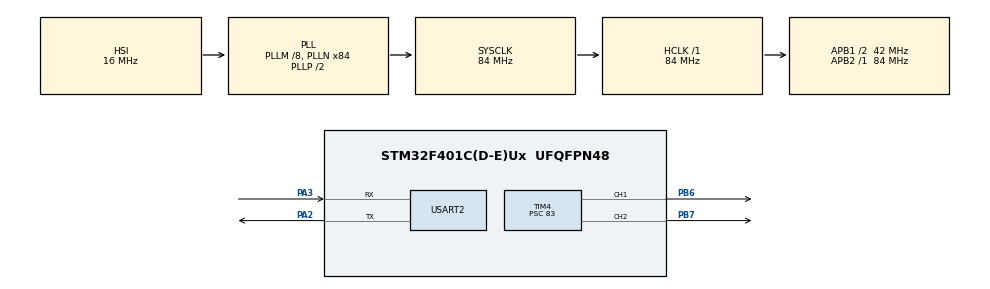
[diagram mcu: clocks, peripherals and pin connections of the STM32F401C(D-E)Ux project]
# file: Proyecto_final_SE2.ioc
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Mcu.Family=STM32F4
Mcu.Name=STM32F401C(D-E)Ux
Mcu.Package=UFQFPN48
NVIC.PriorityGroup=NVIC_PRIORITYGROUP_4
NVIC.USART2_IRQn=true\:0\:0\:false\:false\:true\:true\:true\:true
PA2.Mode=Asynchronous
PA2.Signal=USART2_TX
PA3.Mode=Asynchronous
PA3.Signal=USART2_RX
PB6.Signal=S_TIM4_CH1
PB7.Signal=S_TIM4_CH2
ProjectManager.HeapSize=0x200
ProjectManager.StackSize=0x400
ProjectManager.TargetToolchain=MDK-ARM V5.32
RCC.48MHZClocksFreq_Value=42000000
RCC.AHBFreq_Value=84000000
RCC.APB1CLKDivider=RCC_HCLK_DIV2
RCC.APB1Freq_Value=42000000
RCC.APB1TimFreq_Value=84000000
RCC.APB2Freq_Value=84000000
RCC.APB2TimFreq_Value=84000000
RCC.CortexFreq_Value=84000000
RCC.HCLKFreq_Value=84000000
RCC.HSE_VALUE=25000000
RCC.HSI_VALUE=16000000
RCC.LSE_VALUE=32768
RCC.PLLM=8
RCC.PLLN=84
RCC.SYSCLKFreq_VALUE=84000000
RCC.SYSCLKSource=RCC_SYSCLKSOURCE_PLLCLK
RCC.VCOOutputFreq_Value=168000000
SH.S_TIM4_CH1.0=TIM4_CH1,PWM Generation1 CH1
SH.S_TIM4_CH2.0=TIM4_CH2,PWM Generation2 CH2
TIM4.Channel-PWM\ Generation1\ CH1=TIM_CHANNEL_1
TIM4.Channel-PWM\ Generation2\ CH2=TIM_CHANNEL_2
TIM4.Period=19999
TIM4.Prescaler=83
TIM4.Pulse-PWM\ Generation1\ CH1=1500
USART2.VirtualMode=VM_ASYNC
board=custom

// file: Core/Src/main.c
/* USER CODE BEGIN Header */
/**
  ******************************************************************************
  * @file           : main.c
  * @brief          : Main program body
  ******************************************************************************
  ******************************************************************************
  */
/* USER CODE END Header */

#include "main.h"
#include <string.h>
#include <stdio.h>
#include <stdlib.h>

TIM_HandleTypeDef htim4;
UART_HandleTypeDef huart2;

void SystemClock_Config(void);
static void MX_GPIO_Init(void);
static void MX_TIM4_Init(void);
static void MX_USART2_UART_Init(void);

/* USER CODE BEGIN PV */

// ===== Servo config =====
#define SERVO_MIN_US     1000
#define SERVO_MAX_US     2000
#define SERVO_CENTER_US  1500
#define SERVO_STEP_MAX   400     // clamp por comando
#define SERVO_CH         TIM_CHANNEL_1

static volatile uint16_t g_servo_us = SERVO_CENTER_US;

// ===== UART line parser (IT RX) =====
static volatile uint8_t rx_byte;
static volatile char    line_buf[64];
static volatile uint8_t line_idx   = 0;
static volatile uint8_t line_ready = 0;

// Handshake state
typedef enum { ST_WAIT_HELLO=0, ST_READY } state_t;
static volatile state_t g_state = ST_WAIT_HELLO;

static char txbuf[64];

/* USER CODE END PV */

/* USER CODE BEGIN 0 */

static inline uint16_t clamp_u16(uint16_t x, uint16_t lo, uint16_t hi)
{
  if (x < lo) return lo;
  if (x > hi) return hi;
  return x;
}

static inline int32_t clamp_i32(int32_t x, int32_t lo, int32_t hi)
{
  if (x < lo) return lo;
  if (x > hi) return hi;
  return x;
}

static void uart_send(const char *s)
{
  HAL_UART_Transmit(&huart2, (uint8_t*)s, (uint16_t)strlen(s), 50);
}

static void servo_write_us(uint16_t us)
{
  us = clamp_u16(us, SERVO_MIN_US, SERVO_MAX_US);
  g_servo_us = us;
  __HAL_TIM_SET_COMPARE(&htim4, SERVO_CH, us);
}

static void servo_step(int32_t delta_us)
{
  delta_us = clamp_i32(delta_us, -SERVO_STEP_MAX, SERVO_STEP_MAX);
  int32_t next = (int32_t)g_servo_us + delta_us;
  if (next < SERVO_MIN_US) next = SERVO_MIN_US;
  if (next > SERVO_MAX_US) next = SERVO_MAX_US;
  servo_write_us((uint16_t)next);
}

// Procesa una línea ya terminada (sin \r\n)
static void process_line(const char *line)
{
  // ---- Handshake ----
  if (g_state == ST_WAIT_HELLO)
  {
    if (strcmp(line, "HELLO") == 0) {
      g_state = ST_READY;
      uart_send("HELLO_OK\n");
    } else {
      uart_send("ERR EXPECT_HELLO\n");
    }
    return;
  }

  // ---- Commands (ready) ----
  // Centro rápido
  if (strcmp(line, "C") == 0) {
    servo_write_us(SERVO_CENTER_US);
    uart_send("OK\n");
    return;
  }

  // d <N>  -> derecha (suma us)
  // i <N>  -> izquierda (resta us)
  // Ej: "d 20" o "i 50"
  if ((line[0] == 'd' || line[0] == 'i') && line[1] == ' ')
  {
    int n = atoi(&line[2]);   // tolera "d 20", "d 200"
    if (n < 0) n = -n;        // por si mandan negativo

    if (line[0] == 'd') servo_step(+n);
    else                servo_step(-n);

    uart_send("OK\n");
    return;
  }

  // P <us>  -> set pulso directo (debug útil)
  if (line[0] == 'P' && line[1] == ' ')
  {
    int us = atoi(&line[2]);
    if (us < SERVO_MIN_US || us > SERVO_MAX_US) {
      uart_send("ERR RANGE\n");
      return;
    }
    servo_write_us((uint16_t)us);
    uart_send("OK\n");
    return;
  }

  uart_send("ERR UNKNOWN\n");
}

/* USER CODE END 0 */

int main(void)
{
  HAL_Init();
  SystemClock_Config();

  MX_GPIO_Init();
  MX_TIM4_Init();
  MX_USART2_UART_Init();

  // ===== Start PWM =====
  HAL_TIM_PWM_Start(&htim4, SERVO_CH);
  servo_write_us(SERVO_CENTER_US);

  // ===== Start UART RX IT =====
  HAL_UART_Receive_IT(&huart2, (uint8_t*)&rx_byte, 1);

  uart_send("READY\n");

  while (1)
  {
    if (line_ready)
    {
      line_ready = 0;
      char local[64];
      strncpy(local, (const char*)line_buf, sizeof(local));
      local[sizeof(local)-1] = '\0';
      process_line(local);
    }
  }
}

void SystemClock_Config(void)
{
  RCC_OscInitTypeDef RCC_OscInitStruct = {0};
  RCC_ClkInitTypeDef RCC_ClkInitStruct = {0};

  __HAL_RCC_PWR_CLK_ENABLE();
  __HAL_PWR_VOLTAGESCALING_CONFIG(PWR_REGULATOR_VOLTAGE_SCALE2);

  RCC_OscInitStruct.OscillatorType = RCC_OSCILLATORTYPE_HSI;
  RCC_OscInitStruct.HSIState = RCC_HSI_ON;
  RCC_OscInitStruct.HSICalibrationValue = RCC_HSICALIBRATION_DEFAULT;
  RCC_OscInitStruct.PLL.PLLState = RCC_PLL_ON;
  RCC_OscInitStruct.PLL.PLLSource = RCC_PLLSOURCE_HSI;
  RCC_OscInitStruct.PLL.PLLM = 8;
  RCC_OscInitStruct.PLL.PLLN = 84;
  RCC_OscInitStruct.PLL.PLLP = RCC_PLLP_DIV2;
  RCC_OscInitStruct.PLL.PLLQ = 4;
  if (HAL_RCC_OscConfig(&RCC_OscInitStruct) != HAL_OK) Error_Handler();

  RCC_ClkInitStruct.ClockType = RCC_CLOCKTYPE_HCLK|RCC_CLOCKTYPE_SYSCLK
                              |RCC_CLOCKTYPE_PCLK1|RCC_CLOCKTYPE_PCLK2;
  RCC_ClkInitStruct.SYSCLKSource = RCC_SYSCLKSOURCE_PLLCLK;
  RCC_ClkInitStruct.AHBCLKDivider = RCC_SYSCLK_DIV1;
  RCC_ClkInitStruct.APB1CLKDivider = RCC_HCLK_DIV2;
  RCC_ClkInitStruct.APB2CLKDivider = RCC_HCLK_DIV1;

  if (HAL_RCC_ClockConfig(&RCC_ClkInitStruct, FLASH_LATENCY_2) != HAL_OK) Error_Handler();
}

static void MX_TIM4_Init(void)
{
  TIM_MasterConfigTypeDef sMasterConfig = {0};
  TIM_OC_InitTypeDef sConfigOC = {0};

  htim4.Instance = TIM4;
  htim4.Init.Prescaler = 83;            // 84MHz/84 = 1MHz -> 1 tick = 1us
  htim4.Init.CounterMode = TIM_COUNTERMODE_UP;
  htim4.Init.Period = 19999;            // 20ms
  htim4.Init.ClockDivision = TIM_CLOCKDIVISION_DIV1;
  htim4.Init.AutoReloadPreload = TIM_AUTORELOAD_PRELOAD_DISABLE;
  if (HAL_TIM_PWM_Init(&htim4) != HAL_OK) Error_Handler();

  sMasterConfig.MasterOutputTrigger = TIM_TRGO_RESET;
  sMasterConfig.MasterSlaveMode = TIM_MASTERSLAVEMODE_DISABLE;
  if (HAL_TIMEx_MasterConfigSynchronization(&htim4, &sMasterConfig) != HAL_OK) Error_Handler();

  sConfigOC.OCMode = TIM_OCMODE_PWM1;
  sConfigOC.Pulse = SERVO_CENTER_US;    // arranca centrado
  sConfigOC.OCPolarity = TIM_OCPOLARITY_HIGH;
  sConfigOC.OCFastMode = TIM_OCFAST_DISABLE;

  if (HAL_TIM_PWM_ConfigChannel(&htim4, &sConfigOC, TIM_CHANNEL_1) != HAL_OK) Error_Handler();

  HAL_TIM_MspPostInit(&htim4);
}

static void MX_USART2_UART_Init(void)
{
  huart2.Instance = USART2;
  huart2.Init.BaudRate = 115200;
  huart2.Init.WordLength = UART_WORDLENGTH_8B;
  huart2.Init.StopBits = UART_STOPBITS_1;
  huart2.Init.Parity = UART_PARITY_NONE;
  huart2.Init.Mode = UART_MODE_TX_RX;
  huart2.Init.HwFlowCtl = UART_HWCONTROL_NONE;
  huart2.Init.OverSampling = UART_OVERSAMPLING_16;
  if (HAL_UART_Init(&huart2) != HAL_OK) Error_Handler();
}

static void MX_GPIO_Init(void)
{
  __HAL_RCC_GPIOA_CLK_ENABLE();
  __HAL_RCC_GPIOB_CLK_ENABLE();
}

// ===== UART RX callback: arma líneas por \n/\r =====
void HAL_UART_RxCpltCallback(UART_HandleTypeDef *huart)
{
  if (huart->Instance == USART2)
  {
    uint8_t b = rx_byte;

    if (b == '\n' || b == '\r') {
      if (line_idx > 0) {
        line_buf[line_idx] = '\0';
        line_ready = 1;
        line_idx = 0;
      }
    } else {
      if (line_idx < (sizeof(line_buf) - 1)) line_buf[line_idx++] = (char)b;
      else line_idx = 0;
    }

    HAL_UART_Receive_IT(&huart2, (uint8_t*)&rx_byte, 1);
  }
}

void Error_Handler(void)
{
  __disable_irq();
  while (1) { }
}
